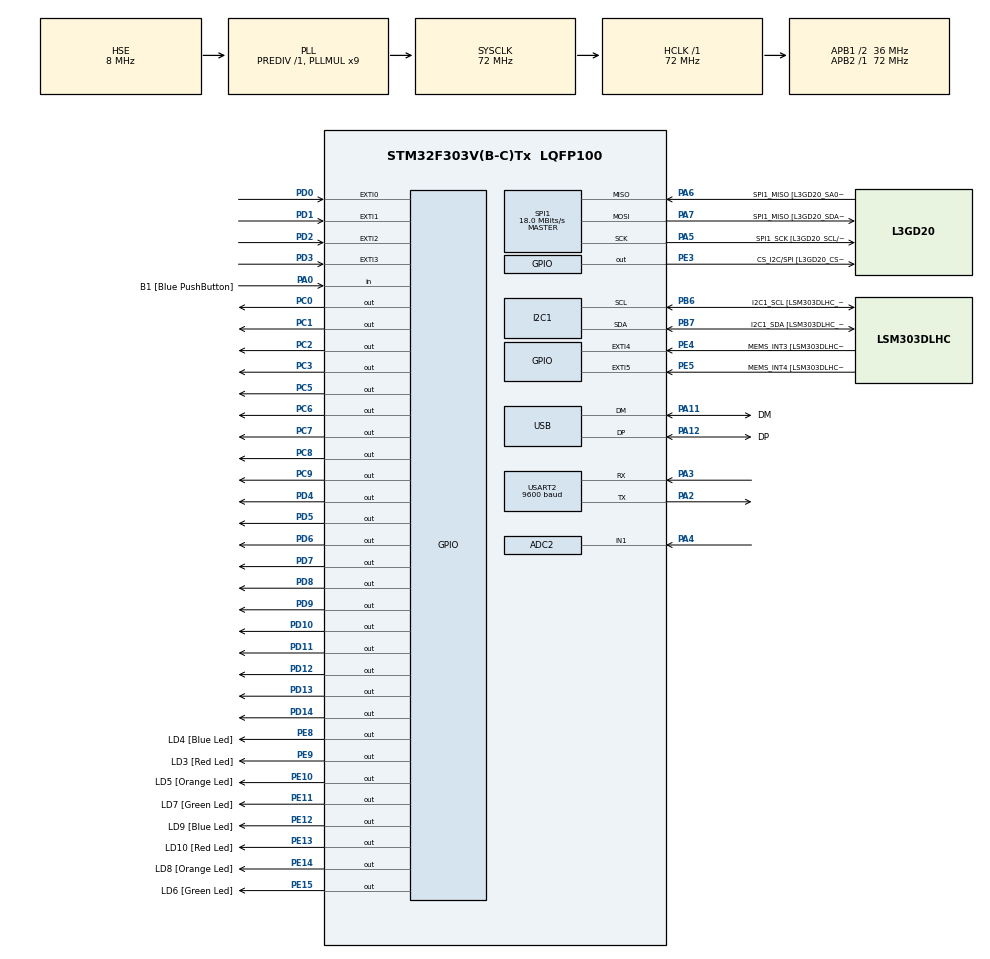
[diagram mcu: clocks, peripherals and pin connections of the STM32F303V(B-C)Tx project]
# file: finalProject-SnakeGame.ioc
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ADC2.Channel-0\#ChannelRegularConversion=ADC_CHANNEL_1
ADC2.NbrOfConversionFlag=1
ADC2.Offset-0\#ChannelRegularConversion=0
ADC2.OffsetNumber-0\#ChannelRegularConversion=ADC_OFFSET_NONE
ADC2.Rank-0\#ChannelRegularConversion=1
ADC2.Resolution=ADC_RESOLUTION_6B
ADC2.SamplingTime-0\#ChannelRegularConversion=ADC_SAMPLETIME_601CYCLES_5
I2C1.Timing-I2C=0x2000090E
Mcu.Family=STM32F3
Mcu.Name=STM32F303V(B-C)Tx
Mcu.Package=LQFP100
NVIC.ADC1_2_IRQn=true\:1\:0\:true\:false\:true\:true
NVIC.EXTI0_IRQn=true\:1\:0\:true\:false\:true\:true
NVIC.EXTI1_IRQn=true\:1\:0\:true\:false\:true\:true
NVIC.EXTI2_TSC_IRQn=true\:1\:0\:true\:false\:true\:true
NVIC.EXTI3_IRQn=true\:1\:0\:true\:false\:true\:true
NVIC.PriorityGroup=NVIC_PRIORITYGROUP_2
NVIC.TIM2_IRQn=true\:1\:0\:true\:false\:true\:true
NVIC.TIM3_IRQn=true\:2\:0\:true\:false\:true\:true
NVIC.TIM4_IRQn=true\:2\:0\:true\:false\:true\:true
NVIC.USART2_IRQn=true\:1\:0\:true\:false\:true\:true
PA0.GPIO_Label=B1 [Blue PushButton]
PA0.Signal=GPIO_Input
PA11.GPIO_Label=DM
PA11.Mode=Device
PA11.Signal=USB_DM
PA12.GPIO_Label=DP
PA12.Mode=Device
PA12.Signal=USB_DP
PA13.GPIO_Label=SWDIO
PA13.Mode=Serial_Wire
PA13.Signal=SYS_JTMS-SWDIO
PA14.GPIO_Label=SWCLK
PA14.Mode=Serial_Wire
PA14.Signal=SYS_JTCK-SWCLK
PA2.Mode=Asynchronous
PA2.Signal=USART2_TX
PA3.Mode=Asynchronous
PA3.Signal=USART2_RX
PA4.Mode=IN1-Single-Ended
PA4.Signal=ADC2_IN1
PA5.GPIO_Label=SPI1_SCK [L3GD20_SCL/SPC]
PA5.Mode=Full_Duplex_Master
PA5.Signal=SPI1_SCK
PA6.GPIO_Label=SPI1_MISO [L3GD20_SA0/SDO]
PA6.Mode=Full_Duplex_Master
PA6.Signal=SPI1_MISO
PA7.GPIO_Label=SPI1_MISO [L3GD20_SDA/SDI/SDO]
PA7.Mode=Full_Duplex_Master
PA7.Signal=SPI1_MOSI
PB3.GPIO_Label=SWO
PB3.Signal=SYS_JTDO-TRACESWO
PB6.GPIO_Label=I2C1_SCL [LSM303DLHC_SCL]
PB6.Mode=I2C
PB6.Signal=I2C1_SCL
PB7.GPIO_Label=I2C1_SDA [LSM303DLHC_SDA]
PB7.Mode=I2C
PB7.Signal=I2C1_SDA
PC0.Signal=GPIO_Output
PC1.Signal=GPIO_Output
PC14-OSC32_IN.GPIO_Label=OSC32_IN
PC14-OSC32_IN.Signal=RCC_OSC32_IN
PC15-OSC32_OUT.GPIO_Label=OSC32_OUT
PC15-OSC32_OUT.Signal=RCC_OSC32_OUT
PC2.Signal=GPIO_Output
PC3.Signal=GPIO_Output
PC5.Signal=GPIO_Output
PC6.Signal=GPIO_Output
PC7.Signal=GPIO_Output
PC8.Signal=GPIO_Output
PC9.Signal=GPIO_Output
PD0.GPIO_PuPd=GPIO_PULLDOWN
PD0.Signal=GPXTI0
PD1.GPIO_PuPd=GPIO_PULLDOWN
PD1.Signal=GPXTI1
PD10.Signal=GPIO_Output
PD11.Signal=GPIO_Output
PD12.Signal=GPIO_Output
PD13.Signal=GPIO_Output
PD14.Signal=GPIO_Output
PD2.GPIO_PuPd=GPIO_PULLDOWN
PD2.Signal=GPXTI2
PD3.GPIO_PuPd=GPIO_PULLDOWN
PD3.Signal=GPXTI3
PD4.GPIO_PuPd=GPIO_PULLDOWN
PD4.Signal=GPIO_Output
PD5.GPIO_PuPd=GPIO_PULLDOWN
PD5.Signal=GPIO_Output
PD6.GPIO_PuPd=GPIO_PULLDOWN
PD6.Signal=GPIO_Output
PD7.GPIO_PuPd=GPIO_PULLDOWN
PD7.Signal=GPIO_Output
PD8.Signal=GPIO_Output
PD9.Signal=GPIO_Output
PE10.GPIO_Label=LD5 [Orange Led]
PE10.Signal=GPIO_Output
PE11.GPIO_Label=LD7 [Green Led]
PE11.Signal=GPIO_Output
PE12.GPIO_Label=LD9 [Blue Led]
PE12.Signal=GPIO_Output
PE13.GPIO_Label=LD10 [Red Led]
PE13.Signal=GPIO_Output
PE14.GPIO_Label=LD8 [Orange Led]
PE14.Signal=GPIO_Output
PE15.GPIO_Label=LD6 [Green Led]
PE15.Signal=GPIO_Output
PE3.GPIO_Label=CS_I2C/SPI [L3GD20_CS_I2C/SPI]
PE3.Signal=GPIO_Output
PE4.GPIO_Label=MEMS_INT3 [LSM303DLHC_INT1]
PE4.GPIO_ModeDefaultEXTI=GPIO_MODE_EVT_RISING
PE4.Signal=GPXTI4
PE5.GPIO_Label=MEMS_INT4 [LSM303DLHC_INT2]
PE5.GPIO_ModeDefaultEXTI=GPIO_MODE_EVT_RISING
PE5.Signal=GPXTI5
PE8.GPIO_Label=LD4 [Blue Led]
PE8.Signal=GPIO_Output
PE9.GPIO_Label=LD3 [Red Led]
PE9.Signal=GPIO_Output
PF0-OSC_IN.GPIO_Label=OSC_IN
PF0-OSC_IN.Mode=HSE-External-Clock-Source
PF0-OSC_IN.Signal=RCC_OSC_IN
PF1-OSC_OUT.GPIO_Label=OSC_OUT
PF1-OSC_OUT.Signal=RCC_OSC_OUT
ProjectManager.HeapSize=0x200
ProjectManager.StackSize=0x400
ProjectManager.TargetToolchain=MDK-ARM V5
RCC.AHBFreq_Value=72000000
RCC.APB1CLKDivider=RCC_HCLK_DIV2
RCC.APB1Freq_Value=36000000
RCC.APB1TimFreq_Value=72000000
RCC.APB2Freq_Value=72000000
RCC.APB2TimFreq_Value=72000000
RCC.CortexFreq_Value=72000000
RCC.HCLKFreq_Value=72000000
RCC.HSE_VALUE=8000000
RCC.HSI_VALUE=8000000
RCC.LSE_VALUE=32768
RCC.PLLMUL=RCC_PLL_MUL9
RCC.PRESCALERUSB=RCC_USBCLKSOURCE_PLL_DIV1_5
RCC.SYSCLKFreq_VALUE=72000000
RCC.SYSCLKSourceVirtual=RCC_SYSCLKSOURCE_PLLCLK
RCC.USBFreq_Value=48000000
SPI1.BaudRatePrescaler=SPI_BAUDRATEPRESCALER_4
SPI1.BaudRatePrescaler-Full_Duplex_Master=SPI_BAUDRATEPRESCALER_2
SPI1.CalculateBaudRate=18.0 MBits/s
SPI1.CalculateBaudRate-Full_Duplex_Master=24.0 MBits/s
SPI1.Direction=SPI_DIRECTION_2LINES
SPI1.Mode=SPI_MODE_MASTER
SPI1.Mode-Full_Duplex_Master=SPI_MODE_MASTER
SPI1.VirtualType=VM_MASTER
TIM2.Period=1000
TIM2.Prescaler=71
TIM3.Period=10000
TIM3.Prescaler=7199
TIM4.Period=10000
TIM4.Prescaler=719
USART2.BaudRate=9600
USART2.VirtualMode-Asynchronous=VM_ASYNC
VP_TIM2_VS_ClockSourceINT.Mode=Internal
VP_TIM3_VS_ClockSourceINT.Mode=Internal
VP_TIM4_VS_ClockSourceINT.Mode=Internal
board=STM32F3DISCOVERY

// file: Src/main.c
/**
  ******************************************************************************
  * @file           : main.c
  * @brief          : Main program body
  ******************************************************************************
  ** This notice applies to any and all portions of this file
  * that are not between comment pairs USER CODE BEGIN and
  * USER CODE END. Other portions of this file, whether
  * inserted by the user or by software development tools
  * are owned by their respective copyright owners.
  *
  * COPYRIGHT(c) 2020 STMicroelectronics
  *
  * Redistribution and use in source and binary forms, with or without modification,
  * are permitted provided that the following conditions are met:
  *   1. Redistributions of source code must retain the above copyright notice,
  *      this list of conditions and the following disclaimer.
  *   2. Redistributions in binary form must reproduce the above copyright notice,
  *      this list of conditions and the following disclaimer in the documentation
  *      and/or other materials provided with the distribution.
  *   3. Neither the name of STMicroelectronics nor the names of its contributors
  *      may be used to endorse or promote products derived from this software
  *      without specific prior written permission.
  *
  * THIS SOFTWARE IS PROVIDED BY THE COPYRIGHT HOLDERS AND CONTRIBUTORS "AS IS"
  * AND ANY EXPRESS OR IMPLIED WARRANTIES, INCLUDING, BUT NOT LIMITED TO, THE
  * IMPLIED WARRANTIES OF MERCHANTABILITY AND FITNESS FOR A PARTICULAR PURPOSE ARE
  * DISCLAIMED. IN NO EVENT SHALL THE COPYRIGHT HOLDER OR CONTRIBUTORS BE LIABLE
  * FOR ANY DIRECT, INDIRECT, INCIDENTAL, SPECIAL, EXEMPLARY, OR CONSEQUENTIAL
  * DAMAGES (INCLUDING, BUT NOT LIMITED TO, PROCUREMENT OF SUBSTITUTE GOODS OR
  * SERVICES; LOSS OF USE, DATA, OR PROFITS; OR BUSINESS INTERRUPTION) HOWEVER
  * CAUSED AND ON ANY THEORY OF LIABILITY, WHETHER IN CONTRACT, STRICT LIABILITY,
  * OR TORT (INCLUDING NEGLIGENCE OR OTHERWISE) ARISING IN ANY WAY OUT OF THE USE
  * OF THIS SOFTWARE, EVEN IF ADVISED OF THE POSSIBILITY OF SUCH DAMAGE.
  *
  ******************************************************************************
  */
#include "main.h"
#include "stm32f3xx_hal.h"

/* USER CODE BEGIN Includes */
#include "LiquidCrystal.h"
#include <stdlib.h>
#include <time.h>

/* USER CODE END Includes */

ADC_HandleTypeDef hadc2;

I2C_HandleTypeDef hi2c1;

SPI_HandleTypeDef hspi1;

TIM_HandleTypeDef htim2;
TIM_HandleTypeDef htim3;
TIM_HandleTypeDef htim4;

UART_HandleTypeDef huart2;

PCD_HandleTypeDef hpcd_USB_FS;

/* USER CODE BEGIN PV */
/* Private variables ---------------------------------------------------------*/

/* USER CODE END PV */

void SystemClock_Config(void);
static void MX_GPIO_Init(void);
static void MX_I2C1_Init(void);
static void MX_SPI1_Init(void);
static void MX_USB_PCD_Init(void);
static void MX_USART2_UART_Init(void);
static void MX_TIM4_Init(void);
static void MX_ADC2_Init(void);
static void MX_TIM2_Init(void);
static void MX_TIM3_Init(void);

/* USER CODE BEGIN PFP */
/* Private function prototypes -----------------------------------------------*/

/* USER CODE END PFP */

/* USER CODE BEGIN 0 */
TIM_HandleTypeDef htim3;
int score = 0;
int snake[80][2];
int speed=1;
int length;
unsigned char dir[1]=" ";
int appleRow=-1;
int appleColumn=-1;
char prev = 'r';
int totalTime=0;
float vol = 0;
float snakeSpeed = 0.5;
int mode = 1;
/* USER CODE END 0 */

int main(void)
{

  /* MCU Configuration----------------------------------------------------------*/

  /* Reset of all peripherals, Initializes the Flash interface and the Systick. */
  HAL_Init();

  /* Configure the system clock */
  SystemClock_Config();

  /* Initialize all configured peripherals */
  MX_GPIO_Init();
  MX_I2C1_Init();
  MX_SPI1_Init();
  MX_USB_PCD_Init();
  MX_USART2_UART_Init();
  MX_TIM4_Init();
  MX_ADC2_Init();
  MX_TIM2_Init();
  MX_TIM3_Init();
  /* USER CODE BEGIN 2 */
		LiquidCrystal(GPIOD, GPIO_PIN_8, GPIO_PIN_9, GPIO_PIN_10, GPIO_PIN_11, GPIO_PIN_12, GPIO_PIN_13, GPIO_PIN_14);
		begin(20,4);

		HAL_GPIO_WritePin(GPIOD, GPIO_PIN_4|GPIO_PIN_5|GPIO_PIN_6|GPIO_PIN_7, GPIO_PIN_SET);
		HAL_GPIO_WritePin(GPIOC, GPIO_PIN_6|GPIO_PIN_7|GPIO_PIN_8|GPIO_PIN_9, 0);

		HAL_TIM_Base_Start_IT(&htim4);
		HAL_TIM_Base_Start_IT(&htim2);
		HAL_ADC_Start_IT(&hadc2);
		HAL_UART_Receive_IT(&huart2, dir, sizeof(dir));
  /* USER CODE END 2 */

  /* Infinite loop */
  while (1)
  {

  }

}

void SystemClock_Config(void)
{

  RCC_OscInitTypeDef RCC_OscInitStruct;
  RCC_ClkInitTypeDef RCC_ClkInitStruct;
  RCC_PeriphCLKInitTypeDef PeriphClkInit;

    /**Initializes the CPU, AHB and APB busses clocks
    */
  RCC_OscInitStruct.OscillatorType = RCC_OSCILLATORTYPE_HSI|RCC_OSCILLATORTYPE_HSE;
  RCC_OscInitStruct.HSEState = RCC_HSE_BYPASS;
  RCC_OscInitStruct.HSEPredivValue = RCC_HSE_PREDIV_DIV1;
  RCC_OscInitStruct.HSIState = RCC_HSI_ON;
  RCC_OscInitStruct.HSICalibrationValue = 16;
  RCC_OscInitStruct.PLL.PLLState = RCC_PLL_ON;
  RCC_OscInitStruct.PLL.PLLSource = RCC_PLLSOURCE_HSE;
  RCC_OscInitStruct.PLL.PLLMUL = RCC_PLL_MUL9;
  if (HAL_RCC_OscConfig(&RCC_OscInitStruct) != HAL_OK)
  {
    _Error_Handler(__FILE__, __LINE__);
  }

    /**Initializes the CPU, AHB and APB busses clocks
    */
  RCC_ClkInitStruct.ClockType = RCC_CLOCKTYPE_HCLK|RCC_CLOCKTYPE_SYSCLK
                              |RCC_CLOCKTYPE_PCLK1|RCC_CLOCKTYPE_PCLK2;
  RCC_ClkInitStruct.SYSCLKSource = RCC_SYSCLKSOURCE_PLLCLK;
  RCC_ClkInitStruct.AHBCLKDivider = RCC_SYSCLK_DIV1;
  RCC_ClkInitStruct.APB1CLKDivider = RCC_HCLK_DIV2;
  RCC_ClkInitStruct.APB2CLKDivider = RCC_HCLK_DIV1;

  if (HAL_RCC_ClockConfig(&RCC_ClkInitStruct, FLASH_LATENCY_2) != HAL_OK)
  {
    _Error_Handler(__FILE__, __LINE__);
  }

  PeriphClkInit.PeriphClockSelection = RCC_PERIPHCLK_USB|RCC_PERIPHCLK_USART2
                              |RCC_PERIPHCLK_I2C1|RCC_PERIPHCLK_ADC12;
  PeriphClkInit.Usart2ClockSelection = RCC_USART2CLKSOURCE_PCLK1;
  PeriphClkInit.Adc12ClockSelection = RCC_ADC12PLLCLK_DIV1;
  PeriphClkInit.I2c1ClockSelection = RCC_I2C1CLKSOURCE_HSI;
  PeriphClkInit.USBClockSelection = RCC_USBCLKSOURCE_PLL_DIV1_5;
  if (HAL_RCCEx_PeriphCLKConfig(&PeriphClkInit) != HAL_OK)
  {
    _Error_Handler(__FILE__, __LINE__);
  }

    /**Configure the Systick interrupt time
    */
  HAL_SYSTICK_Config(HAL_RCC_GetHCLKFreq()/1000);

    /**Configure the Systick
    */
  HAL_SYSTICK_CLKSourceConfig(SYSTICK_CLKSOURCE_HCLK);

  /* SysTick_IRQn interrupt configuration */
  HAL_NVIC_SetPriority(SysTick_IRQn, 0, 0);
}

/* ADC2 init function */
static void MX_ADC2_Init(void)
{

  ADC_ChannelConfTypeDef sConfig;

    /**Common config
    */
  hadc2.Instance = ADC2;
  hadc2.Init.ClockPrescaler = ADC_CLOCK_ASYNC_DIV1;
  hadc2.Init.Resolution = ADC_RESOLUTION_6B;
  hadc2.Init.ScanConvMode = ADC_SCAN_DISABLE;
  hadc2.Init.ContinuousConvMode = DISABLE;
  hadc2.Init.DiscontinuousConvMode = DISABLE;
  hadc2.Init.ExternalTrigConvEdge = ADC_EXTERNALTRIGCONVEDGE_NONE;
  hadc2.Init.ExternalTrigConv = ADC_SOFTWARE_START;
  hadc2.Init.DataAlign = ADC_DATAALIGN_RIGHT;
  hadc2.Init.NbrOfConversion = 1;
  hadc2.Init.DMAContinuousRequests = DISABLE;
  hadc2.Init.EOCSelection = ADC_EOC_SINGLE_CONV;
  hadc2.Init.LowPowerAutoWait = DISABLE;
  hadc2.Init.Overrun = ADC_OVR_DATA_OVERWRITTEN;
  if (HAL_ADC_Init(&hadc2) != HAL_OK)
  {
    _Error_Handler(__FILE__, __LINE__);
  }

    /**Configure Regular Channel
    */
  sConfig.Channel = ADC_CHANNEL_1;
  sConfig.Rank = ADC_REGULAR_RANK_1;
  sConfig.SingleDiff = ADC_SINGLE_ENDED;
  sConfig.SamplingTime = ADC_SAMPLETIME_601CYCLES_5;
  sConfig.OffsetNumber = ADC_OFFSET_NONE;
  sConfig.Offset = 0;
  if (HAL_ADC_ConfigChannel(&hadc2, &sConfig) != HAL_OK)
  {
    _Error_Handler(__FILE__, __LINE__);
  }

}

/* I2C1 init function */
static void MX_I2C1_Init(void)
{

  hi2c1.Instance = I2C1;
  hi2c1.Init.Timing = 0x2000090E;
  hi2c1.Init.OwnAddress1 = 0;
  hi2c1.Init.AddressingMode = I2C_ADDRESSINGMODE_7BIT;
  hi2c1.Init.DualAddressMode = I2C_DUALADDRESS_DISABLE;
  hi2c1.Init.OwnAddress2 = 0;
  hi2c1.Init.OwnAddress2Masks = I2C_OA2_NOMASK;
  hi2c1.Init.GeneralCallMode = I2C_GENERALCALL_DISABLE;
  hi2c1.Init.NoStretchMode = I2C_NOSTRETCH_DISABLE;
  if (HAL_I2C_Init(&hi2c1) != HAL_OK)
  {
    _Error_Handler(__FILE__, __LINE__);
  }

    /**Configure Analogue filter
    */
  if (HAL_I2CEx_ConfigAnalogFilter(&hi2c1, I2C_ANALOGFILTER_ENABLE) != HAL_OK)
  {
    _Error_Handler(__FILE__, __LINE__);
  }

    /**Configure Digital filter
    */
  if (HAL_I2CEx_ConfigDigitalFilter(&hi2c1, 0) != HAL_OK)
  {
    _Error_Handler(__FILE__, __LINE__);
  }

}

/* SPI1 init function */
static void MX_SPI1_Init(void)
{

  /* SPI1 parameter configuration*/
  hspi1.Instance = SPI1;
  hspi1.Init.Mode = SPI_MODE_MASTER;
  hspi1.Init.Direction = SPI_DIRECTION_2LINES;
  hspi1.Init.DataSize = SPI_DATASIZE_4BIT;
  hspi1.Init.CLKPolarity = SPI_POLARITY_LOW;
  hspi1.Init.CLKPhase = SPI_PHASE_1EDGE;
  hspi1.Init.NSS = SPI_NSS_SOFT;
  hspi1.Init.BaudRatePrescaler = SPI_BAUDRATEPRESCALER_4;
  hspi1.Init.FirstBit = SPI_FIRSTBIT_MSB;
  hspi1.Init.TIMode = SPI_TIMODE_DISABLE;
  hspi1.Init.CRCCalculation = SPI_CRCCALCULATION_DISABLE;
  hspi1.Init.CRCPolynomial = 7;
  hspi1.Init.CRCLength = SPI_CRC_LENGTH_DATASIZE;
  hspi1.Init.NSSPMode = SPI_NSS_PULSE_ENABLE;
  if (HAL_SPI_Init(&hspi1) != HAL_OK)
  {
    _Error_Handler(__FILE__, __LINE__);
  }

}

/* TIM2 init function */
static void MX_TIM2_Init(void)
{

  TIM_ClockConfigTypeDef sClockSourceConfig;
  TIM_MasterConfigTypeDef sMasterConfig;

  htim2.Instance = TIM2;
  htim2.Init.Prescaler = 71;
  htim2.Init.CounterMode = TIM_COUNTERMODE_UP;
  htim2.Init.Period = 1000;
  htim2.Init.ClockDivision = TIM_CLOCKDIVISION_DIV1;
  htim2.Init.AutoReloadPreload = TIM_AUTORELOAD_PRELOAD_DISABLE;
  if (HAL_TIM_Base_Init(&htim2) != HAL_OK)
  {
    _Error_Handler(__FILE__, __LINE__);
  }

  sClockSourceConfig.ClockSource = TIM_CLOCKSOURCE_INTERNAL;
  if (HAL_TIM_ConfigClockSource(&htim2, &sClockSourceConfig) != HAL_OK)
  {
    _Error_Handler(__FILE__, __LINE__);
  }

  sMasterConfig.MasterOutputTrigger = TIM_TRGO_RESET;
  sMasterConfig.MasterSlaveMode = TIM_MASTERSLAVEMODE_DISABLE;
  if (HAL_TIMEx_MasterConfigSynchronization(&htim2, &sMasterConfig) != HAL_OK)
  {
    _Error_Handler(__FILE__, __LINE__);
  }

}

/* TIM3 init function */
static void MX_TIM3_Init(void)
{

  TIM_ClockConfigTypeDef sClockSourceConfig;
  TIM_MasterConfigTypeDef sMasterConfig;

  htim3.Instance = TIM3;
  htim3.Init.Prescaler = 7199;
  htim3.Init.CounterMode = TIM_COUNTERMODE_UP;
  htim3.Init.Period = 10000;
  htim3.Init.ClockDivision = TIM_CLOCKDIVISION_DIV1;
  htim3.Init.AutoReloadPreload = TIM_AUTORELOAD_PRELOAD_DISABLE;
  if (HAL_TIM_Base_Init(&htim3) != HAL_OK)
  {
    _Error_Handler(__FILE__, __LINE__);
  }

  sClockSourceConfig.ClockSource = TIM_CLOCKSOURCE_INTERNAL;
  if (HAL_TIM_ConfigClockSource(&htim3, &sClockSourceConfig) != HAL_OK)
  {
    _Error_Handler(__FILE__, __LINE__);
  }

  sMasterConfig.MasterOutputTrigger = TIM_TRGO_RESET;
  sMasterConfig.MasterSlaveMode = TIM_MASTERSLAVEMODE_DISABLE;
  if (HAL_TIMEx_MasterConfigSynchronization(&htim3, &sMasterConfig) != HAL_OK)
  {
    _Error_Handler(__FILE__, __LINE__);
  }

}

/* TIM4 init function */
static void MX_TIM4_Init(void)
{

  TIM_ClockConfigTypeDef sClockSourceConfig;
  TIM_MasterConfigTypeDef sMasterConfig;

  htim4.Instance = TIM4;
  htim4.Init.Prescaler = 719;
  htim4.Init.CounterMode = TIM_COUNTERMODE_UP;
  htim4.Init.Period = 10000;
  htim4.Init.ClockDivision = TIM_CLOCKDIVISION_DIV1;
  htim4.Init.AutoReloadPreload = TIM_AUTORELOAD_PRELOAD_DISABLE;
  if (HAL_TIM_Base_Init(&htim4) != HAL_OK)
  {
    _Error_Handler(__FILE__, __LINE__);
  }

  sClockSourceConfig.ClockSource = TIM_CLOCKSOURCE_INTERNAL;
  if (HAL_TIM_ConfigClockSource(&htim4, &sClockSourceConfig) != HAL_OK)
  {
    _Error_Handler(__FILE__, __LINE__);
  }

  sMasterConfig.MasterOutputTrigger = TIM_TRGO_RESET;
  sMasterConfig.MasterSlaveMode = TIM_MASTERSLAVEMODE_DISABLE;
  if (HAL_TIMEx_MasterConfigSynchronization(&htim4, &sMasterConfig) != HAL_OK)
  {
    _Error_Handler(__FILE__, __LINE__);
  }

}

/* USART2 init function */
static void MX_USART2_UART_Init(void)
{

  huart2.Instance = USART2;
  huart2.Init.BaudRate = 9600;
  huart2.Init.WordLength = UART_WORDLENGTH_8B;
  huart2.Init.StopBits = UART_STOPBITS_1;
  huart2.Init.Parity = UART_PARITY_NONE;
  huart2.Init.Mode = UART_MODE_TX_RX;
  huart2.Init.HwFlowCtl = UART_HWCONTROL_NONE;
  huart2.Init.OverSampling = UART_OVERSAMPLING_16;
  huart2.Init.OneBitSampling = UART_ONE_BIT_SAMPLE_DISABLE;
  huart2.AdvancedInit.AdvFeatureInit = UART_ADVFEATURE_NO_INIT;
  if (HAL_UART_Init(&huart2) != HAL_OK)
  {
    _Error_Handler(__FILE__, __LINE__);
  }

}

/* USB init function */
static void MX_USB_PCD_Init(void)
{

  hpcd_USB_FS.Instance = USB;
  hpcd_USB_FS.Init.dev_endpoints = 8;
  hpcd_USB_FS.Init.speed = PCD_SPEED_FULL;
  hpcd_USB_FS.Init.ep0_mps = DEP0CTL_MPS_64;
  hpcd_USB_FS.Init.phy_itface = PCD_PHY_EMBEDDED;
  hpcd_USB_FS.Init.low_power_enable = DISABLE;
  hpcd_USB_FS.Init.battery_charging_enable = DISABLE;
  if (HAL_PCD_Init(&hpcd_USB_FS) != HAL_OK)
  {
    _Error_Handler(__FILE__, __LINE__);
  }

}

/** Configure pins as
        * Analog
        * Input
        * Output
        * EVENT_OUT
        * EXTI
*/
static void MX_GPIO_Init(void)
{

  GPIO_InitTypeDef GPIO_InitStruct;

  /* GPIO Ports Clock Enable */
  __HAL_RCC_GPIOE_CLK_ENABLE();
  __HAL_RCC_GPIOC_CLK_ENABLE();
  __HAL_RCC_GPIOF_CLK_ENABLE();
  __HAL_RCC_GPIOA_CLK_ENABLE();
  __HAL_RCC_GPIOD_CLK_ENABLE();
  __HAL_RCC_GPIOB_CLK_ENABLE();

  /*Configure GPIO pin Output Level */
  HAL_GPIO_WritePin(GPIOE, CS_I2C_SPI_Pin|LD4_Pin|LD3_Pin|LD5_Pin
                          |LD7_Pin|LD9_Pin|LD10_Pin|LD8_Pin
                          |LD6_Pin, GPIO_PIN_RESET);

  /*Configure GPIO pin Output Level */
  HAL_GPIO_WritePin(GPIOC, GPIO_PIN_0|GPIO_PIN_1|GPIO_PIN_2|GPIO_PIN_3
                          |GPIO_PIN_5|GPIO_PIN_6|GPIO_PIN_7|GPIO_PIN_8
                          |GPIO_PIN_9, GPIO_PIN_RESET);

  /*Configure GPIO pin Output Level */
  HAL_GPIO_WritePin(GPIOD, GPIO_PIN_8|GPIO_PIN_9|GPIO_PIN_10|GPIO_PIN_11
                          |GPIO_PIN_12|GPIO_PIN_13|GPIO_PIN_14|GPIO_PIN_4
                          |GPIO_PIN_5|GPIO_PIN_6|GPIO_PIN_7, GPIO_PIN_RESET);

  /*Configure GPIO pins : CS_I2C_SPI_Pin LD4_Pin LD3_Pin LD5_Pin
                           LD7_Pin LD9_Pin LD10_Pin LD8_Pin
                           LD6_Pin */
  GPIO_InitStruct.Pin = CS_I2C_SPI_Pin|LD4_Pin|LD3_Pin|LD5_Pin
                          |LD7_Pin|LD9_Pin|LD10_Pin|LD8_Pin
                          |LD6_Pin;
  GPIO_InitStruct.Mode = GPIO_MODE_OUTPUT_PP;
  GPIO_InitStruct.Pull = GPIO_NOPULL;
  GPIO_InitStruct.Speed = GPIO_SPEED_FREQ_LOW;
  HAL_GPIO_Init(GPIOE, &GPIO_InitStruct);

  /*Configure GPIO pins : MEMS_INT3_Pin MEMS_INT4_Pin */
  GPIO_InitStruct.Pin = MEMS_INT3_Pin|MEMS_INT4_Pin;
  GPIO_InitStruct.Mode = GPIO_MODE_EVT_RISING;
  GPIO_InitStruct.Pull = GPIO_NOPULL;
  HAL_GPIO_Init(GPIOE, &GPIO_InitStruct);

  /*Configure GPIO pins : PC0 PC1 PC2 PC3
                           PC5 PC6 PC7 PC8
                           PC9 */
  GPIO_InitStruct.Pin = GPIO_PIN_0|GPIO_PIN_1|GPIO_PIN_2|GPIO_PIN_3
                          |GPIO_PIN_5|GPIO_PIN_6|GPIO_PIN_7|GPIO_PIN_8
                          |GPIO_PIN_9;
  GPIO_InitStruct.Mode = GPIO_MODE_OUTPUT_PP;
  GPIO_InitStruct.Pull = GPIO_NOPULL;
  GPIO_InitStruct.Speed = GPIO_SPEED_FREQ_LOW;
  HAL_GPIO_Init(GPIOC, &GPIO_InitStruct);

  /*Configure GPIO pin : B1_Pin */
  GPIO_InitStruct.Pin = B1_Pin;
  GPIO_InitStruct.Mode = GPIO_MODE_INPUT;
  GPIO_InitStruct.Pull = GPIO_NOPULL;
  HAL_GPIO_Init(B1_GPIO_Port, &GPIO_InitStruct);

  /*Configure GPIO pins : PD8 PD9 PD10 PD11
                           PD12 PD13 PD14 */
  GPIO_InitStruct.Pin = GPIO_PIN_8|GPIO_PIN_9|GPIO_PIN_10|GPIO_PIN_11
                          |GPIO_PIN_12|GPIO_PIN_13|GPIO_PIN_14;
  GPIO_InitStruct.Mode = GPIO_MODE_OUTPUT_PP;
  GPIO_InitStruct.Pull = GPIO_NOPULL;
  GPIO_InitStruct.Speed = GPIO_SPEED_FREQ_LOW;
  HAL_GPIO_Init(GPIOD, &GPIO_InitStruct);

  /*Configure GPIO pins : PD0 PD1 PD2 PD3 */
  GPIO_InitStruct.Pin = GPIO_PIN_0|GPIO_PIN_1|GPIO_PIN_2|GPIO_PIN_3;
  GPIO_InitStruct.Mode = GPIO_MODE_IT_RISING;
  GPIO_InitStruct.Pull = GPIO_PULLDOWN;
  HAL_GPIO_Init(GPIOD, &GPIO_InitStruct);

  /*Configure GPIO pins : PD4 PD5 PD6 PD7 */
  GPIO_InitStruct.Pin = GPIO_PIN_4|GPIO_PIN_5|GPIO_PIN_6|GPIO_PIN_7;
  GPIO_InitStruct.Mode = GPIO_MODE_OUTPUT_PP;
  GPIO_InitStruct.Pull = GPIO_PULLDOWN;
  GPIO_InitStruct.Speed = GPIO_SPEED_FREQ_LOW;
  HAL_GPIO_Init(GPIOD, &GPIO_InitStruct);

  /* EXTI interrupt init*/
  HAL_NVIC_SetPriority(EXTI0_IRQn, 1, 0);
  HAL_NVIC_EnableIRQ(EXTI0_IRQn);

  HAL_NVIC_SetPriority(EXTI1_IRQn, 1, 0);
  HAL_NVIC_EnableIRQ(EXTI1_IRQn);

  HAL_NVIC_SetPriority(EXTI2_TSC_IRQn, 1, 0);
  HAL_NVIC_EnableIRQ(EXTI2_TSC_IRQn);

  HAL_NVIC_SetPriority(EXTI3_IRQn, 1, 0);
  HAL_NVIC_EnableIRQ(EXTI3_IRQn);

}

void _Error_Handler(char *file, int line)
{
  while(1)
  {
  }
}

/************************ (C) COPYRIGHT STMicroelectronics *****END OF FILE****/
